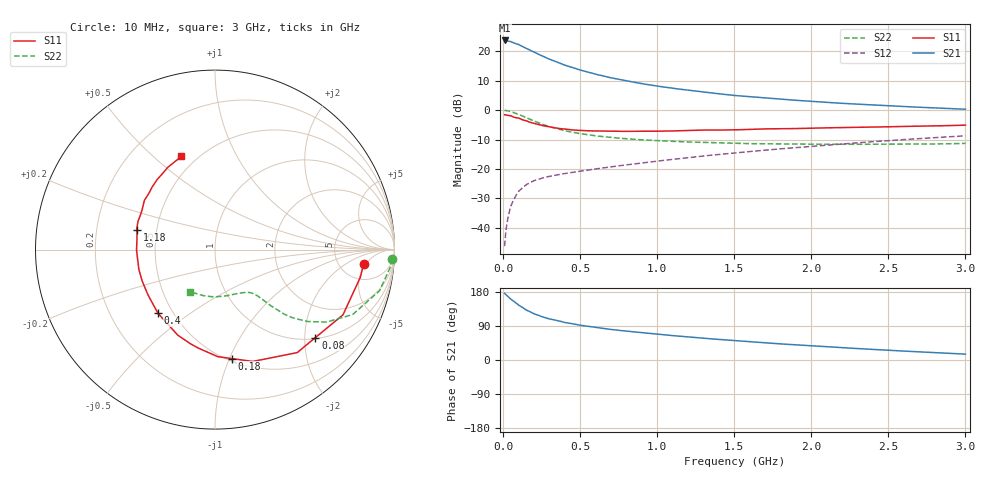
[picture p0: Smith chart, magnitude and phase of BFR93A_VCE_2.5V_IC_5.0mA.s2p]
! Infineon Technologies  Discrete & RF Semiconductors
! BFR93A
! VCE =  2.5 V,  IC =  5.0 mA
! Common Emitter S-Parameters:  Nov 2015
# GHz  S  MA  R  50
!  f  S11  S21  S12  S22
! GHz  MAG  ANG  MAG  ANG  MAG  ANG  MAG  ANG
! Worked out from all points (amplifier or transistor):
!   180 points, 10 MHz to 3 GHz, reference 50 ohm
!   highest |S21| = 23.6 dB at 10 MHz (marker M1)
!   |S21| within 3 dB of that: start of sweep to 163.8 MHz
!   unconditionally stable (mu >= 1): 739.4 MHz to 2.911 GHz
!   at 160 MHz: K = 0.34, MSG = 22.9 dB, |S12| = -25.1 dB
!   at 1.22 GHz: K = 1.12, MAG = 9.2 dB, |S12| = -16.0 dB
!   at 3 GHz: K = 0.99, MSG = 4.5 dB, |S12| = -8.7 dB
!   S11 on the Smith chart (normalised r, x): 10 MHz: 8.59, -4.46; 80 MHz: 1.03, -2.26; 180 MHz: 0.52, -1.02; 400 MHz: 0.42, -0.38; 1.18 GHz: 0.39, +0.11; 3 GHz: 0.41, +0.62
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0.01  0.8323 -5.5  15.15 175.8  0.0049 87.0  0.9871 -3.0
0.02  0.8239 -10.9  15.07 171.9  0.0095 83.7  0.981 -5.8
0.05  0.8004 -27.0  14.5 160.6  0.0232 76.4  0.9454 -14.0
0.08  0.7439 -41.2  13.44 151.6  0.0341 68.2  0.8831 -20.4
0.1  0.7342 -51.4  12.95 144.9  0.0415 65.2  0.8485 -25.2
0.15  0.6576 -71.4  11.18 131.9  0.0541 57.3  0.7417 -33.0
0.18  0.6143 -81.3  10.22 126.4  0.0595 54.4  0.6873 -35.8
0.2  0.5967 -88.5  9.641 122.2  0.0632 52.8  0.652 -37.9
0.24  0.5571 -99.4  8.59 116.1  0.0683 50.3  0.5932 -40.5
0.26  0.5429 -104.4  8.131 113.3  0.0707 49.4  0.5677 -41.6
0.3  0.5199 -113.5  7.307 108.5  0.0749 48.3  0.5238 -43.1
0.4  0.4761 -131.9  5.781 99.0  0.0836 47.6  0.4454 -45.1
0.52  0.4478 -147.8  4.629 90.7  0.0933 48.1  0.3908 -46.1
0.6  0.442 -156.6  4.06 85.9  0.1001 49.0  0.3645 -46.8
0.7  0.4384 -165.4  3.525 80.6  0.1086 50.2  0.3422 -47.8
0.8  0.4344 -172.7  3.122 76.1  0.1174 51.4  0.3253 -48.9
1.02  0.4378 173.5  2.503 67.3  0.1378 53.0  0.301 -52.4
1.18  0.4492 165.6  2.205 61.6  0.1537 53.6  0.2886 -56.0
1.52  0.4623 151.6  1.751 50.5  0.1889 54.2  0.2724 -65.0
2.02  0.494 135.3  1.393 36.9  0.2446 52.5  0.2631 -81.2
2.52  0.5221 121.9  1.174 25.3  0.3053 48.6  0.2634 -99.8
3  0.5539 109.7  1.032 15.5  0.3655 43.5  0.2717 -120.6
